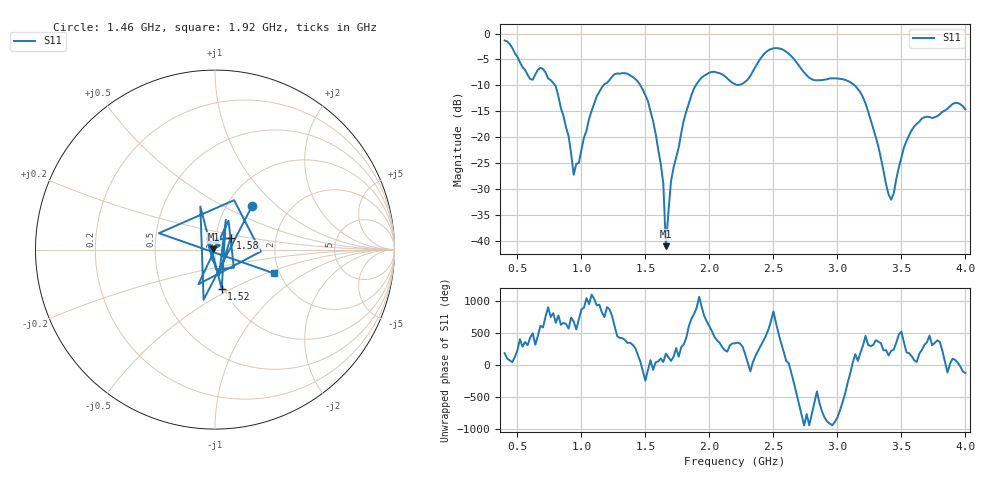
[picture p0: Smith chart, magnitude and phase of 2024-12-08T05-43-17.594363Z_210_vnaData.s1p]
!Created with skrf (http://scikit-rf.org).
# Hz S RI R 50.0
!freq ReS11 ImS11
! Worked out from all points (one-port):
!   181 points, 400 MHz to 4 GHz, reference 50 ohm
!   lowest |S11| = -41.1 dB at 1.66 GHz (marker M1), VSWR 1.02, Z = 49.1 + j0.121 ohm
!   |S11| at or under -10 dB: 794.2 MHz to 1.172 GHz (378 MHz wide, 38.4 % of centre); 1.461 GHz to 1.894 GHz (432.8 MHz wide, 25.8 % of centre); 3.135 GHz to end of sweep
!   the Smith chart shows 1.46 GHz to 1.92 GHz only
!   S11 on the Smith chart (normalised r, x): 1.46 GHz: 1.30, +0.70; 1.52 GHz: 0.98, -0.45; 1.58 GHz: 1.18, +0.15; 1.92 GHz: 1.86, -0.56
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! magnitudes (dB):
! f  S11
! 400 MHz  -1.3
! 600 MHz  -8.8
! 700 MHz  -6.8
! 800 MHz  -10.2
! 860 MHz  -15.9
! 940 MHz  -27.3
! 1.12 GHz  -12.1
! 1.3 GHz  -7.8
! 1.46 GHz  -9.9
! 1.52 GHz  -13.1
! 1.58 GHz  -19.3
! 1.64 GHz  -29.0
! 1.66 GHz  -41.1
! 1.7 GHz  -28.5
! 1.76 GHz  -22.0
! 1.82 GHz  -15.0
! 1.92 GHz  -9.1
! 2.04 GHz  -7.4
! 2.2 GHz  -9.8
! 2.48 GHz  -3.0
! 2.66 GHz  -4.9
! 2.8 GHz  -8.8
! 3.1 GHz  -9.4
! 3.22 GHz  -13.5
! 3.42 GHz  -32.1
! 3.56 GHz  -19.6
! 3.92 GHz  -13.4
! 4 GHz  -14.6
